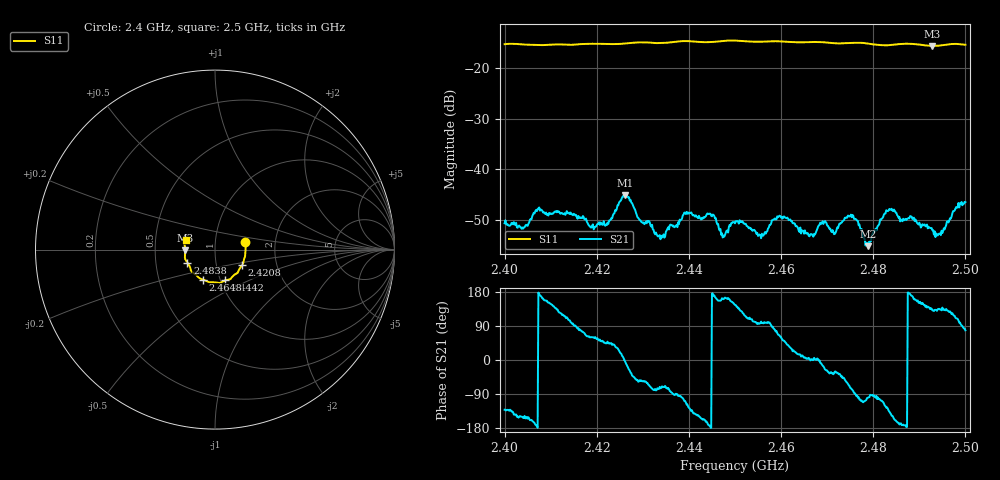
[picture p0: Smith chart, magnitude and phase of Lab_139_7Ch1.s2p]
# Hz S RI R 50
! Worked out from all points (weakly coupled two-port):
!   601 points, 2.4 GHz to 2.5 GHz, reference 50 ohm
!   highest |S21| = -45.14 dB at 2.4262 GHz (marker M1); lowest = -55.2 dB at 2.4788 GHz (marker M2)
!   lowest |S11| = -15.6 dB at 2.4928 GHz (marker M3), VSWR 1.40, Z = 35.8 - j0.349 ohm
!   |S11| at or under -10 dB: start of sweep to end of sweep
!   S12 and S22 are empty: the file has one direction only
!   S11 on the Smith chart (normalised r, x): 2.4 GHz: 1.40, +0.12; 2.4208 GHz: 1.33, -0.24; 2.4442 GHz: 1.05, -0.37; 2.4648 GHz: 0.83, -0.29; 2.4838 GHz: 0.73, -0.11; 2.5 GHz: 0.72, +0.08
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2.4e9  0.1676 0.0412  -0.00193 -0.0022  0 0  0 0
2.404e9  0.1708 0.0172  -0.00229 -0.0012  0 0  0 0
2.407333e9  0.1691 -0.0121  -0.00409 0.000154  0 0  0 0
2.416667e9  0.159 -0.0681  0.000734 0.00321  0 0  0 0
2.420833e9  0.1508 -0.0871  0.00191 0.00228  0 0  0 0
2.426167e9  0.1327 -0.1152  0.00552 -0.000389  0 0  0 0
2.433333e9  0.1078 -0.1402  0.0005 -0.0021  0 0  0 0
2.439333e9  0.0843 -0.165  -0.00137 -0.00334  0 0  0 0
2.444167e9  0.0567 -0.1715  -0.00356 -0.000578  0 0  0 0
2.4475e9  0.0351 -0.1828  -0.00208 0.000744  0 0  0 0
2.45e9  0.0246 -0.1859  -0.0024 0.00166  0 0  0 0
2.455667e9  -0.0119 -0.1821  -0.000401 0.00204  0 0  0 0
2.460167e9  -0.0362 -0.1802  0.00188 0.00283  0 0  0 0
2.464833e9  -0.0683 -0.1669  0.00243 0.000341  0 0  0 0
2.466667e9  -0.0799 -0.1629  0.00225 8.93e-05  0 0  0 0
2.475167e9  -0.1234 -0.128  0.000951 -0.00343  0 0  0 0
2.478833e9  -0.1358 -0.1109  -0.000285 -0.00171  0 0  0 0
2.483333e9  -0.1506 -0.0763  -0.0027 -0.00286  0 0  0 0
2.483833e9  -0.1533 -0.0721  -0.00316 -0.00242  0 0  0 0
2.492833e9  -0.1658 -0.00474  -0.00164 0.00187  0 0  0 0
2.4945e9  -0.167 0.0129  -0.00158 0.00169  0 0  0 0
2.5e9  -0.1622 0.0529  0.00097 0.00462  0 0  0 0
